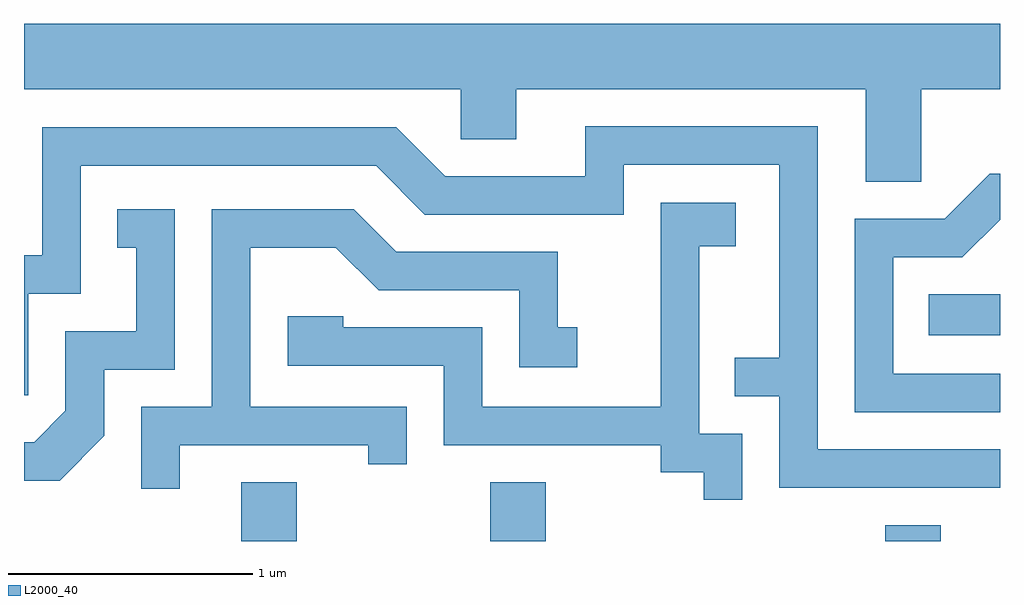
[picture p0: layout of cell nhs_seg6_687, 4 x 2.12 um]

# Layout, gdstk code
import gdstk
lib = gdstk.Library(unit=1e-6, precision=1e-09)
def R(c, l, rs):  # rectangles x0, y0, x1, y1
    for r in rs: c.add(gdstk.rectangle(r[:2], r[2:], *l))
def P(c, l, *ps):  # polygons
    for p in ps: c.add(gdstk.Polygon(p, *l))
L2000_40 = (2000, 40)

nhs_seg6_687 = lib.new_cell('nhs_seg6_687')
R(nhs_seg6_687, L2000_40, [(206.501,1568.162,206.729,1568.404), (207.521,1568.162,207.749,1568.404), (209.141,1568.162,209.369,1568.229), (209.318,1569.006,209.611,1569.174)])
P(nhs_seg6_687, L2000_40, [(209.289,1570.016),(209.611,1570.016),(209.611,1570.284),(205.611,1570.284),(205.611,1570.016),(207.401,1570.016),(207.401,1569.811),(207.629,1569.811),(207.629,1570.016),(209.061,1570.016),(209.061,1569.636),(209.289,1569.636)],
  [(209.611,1568.539),(208.864,1568.539),(208.864,1569.864),(207.911,1569.864),(207.911,1569.659),(207.337,1569.659),(207.137,1569.859),(205.686,1569.859),(205.686,1569.334),(205.611,1569.334),(205.611,1568.761),(205.629,1568.761),(205.629,1569.176),(205.844,1569.176),(205.844,1569.701),(207.054,1569.701),(207.254,1569.501),(208.069,1569.501),(208.069,1569.706),(208.706,1569.706),(208.706,1568.914),(208.523,1568.914),(208.523,1568.756),(208.706,1568.756),(208.706,1568.381),(209.611,1568.381)],
  [(209.611,1568.849),(209.174,1568.849),(209.174,1569.326),(209.457,1569.326),(209.611,1569.48),(209.611,1569.669),(209.569,1569.669),(209.384,1569.484),(209.016,1569.484),(209.016,1568.691),(209.611,1568.691)],
  [(208.554,1568.604),(208.379,1568.604),(208.379,1569.371),(208.529,1569.371),(208.529,1569.549),(208.221,1569.549),(208.221,1568.714),(207.489,1568.714),(207.489,1569.039),(206.919,1569.039),(206.919,1569.084),(206.691,1569.084),(206.691,1568.881),(207.331,1568.881),(207.331,1568.556),(208.221,1568.556),(208.221,1568.446),(208.396,1568.446),(208.396,1568.333),(208.554,1568.333)],
  [(206.249,1568.556),(207.021,1568.556),(207.021,1568.478),(207.179,1568.478),(207.179,1568.714),(206.539,1568.714),(206.539,1569.366),(206.889,1569.366),(207.064,1569.191),(207.641,1569.191),(207.641,1568.876),(207.878,1568.876),(207.878,1569.039),(207.799,1569.039),(207.799,1569.349),(207.137,1569.349),(206.962,1569.524),(206.381,1569.524),(206.381,1568.714),(206.091,1568.714),(206.091,1568.378),(206.249,1568.378)],
  [(205.939,1568.594),(205.939,1568.866),(206.229,1568.866),(206.229,1569.524),(205.993,1569.524),(205.993,1569.366),(206.071,1569.366),(206.071,1569.024),(205.781,1569.024),(205.781,1568.697),(205.654,1568.569),(205.611,1568.569),(205.611,1568.411),(205.757,1568.411)])

lib.write_gds('nhs_seg6_687.gds')
